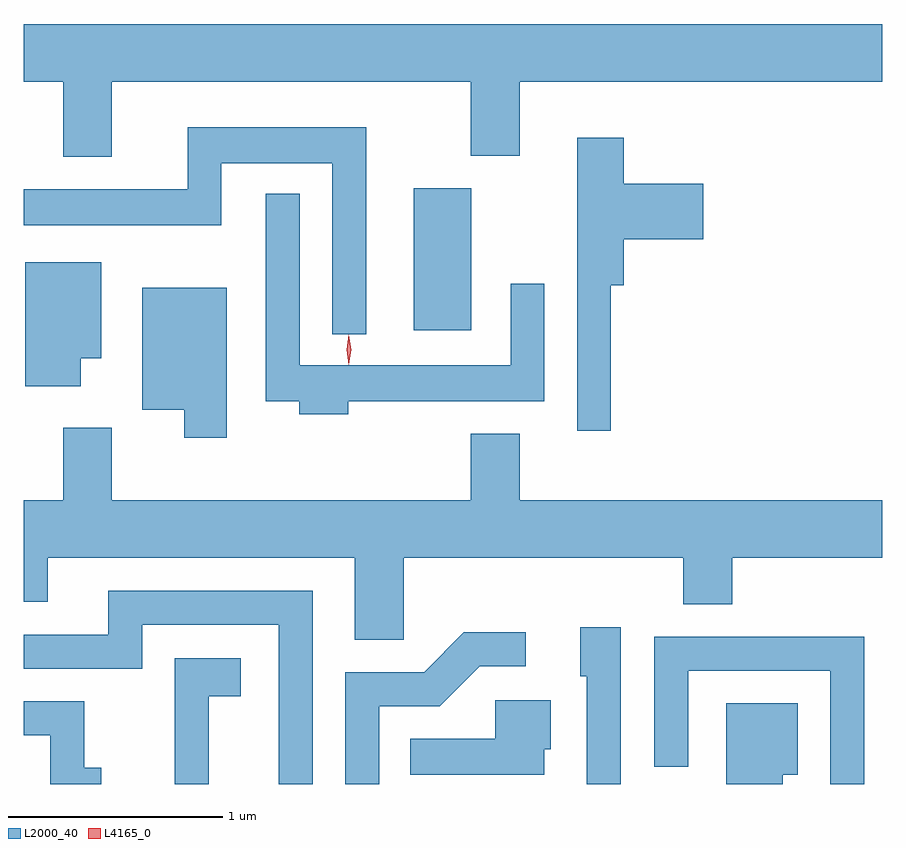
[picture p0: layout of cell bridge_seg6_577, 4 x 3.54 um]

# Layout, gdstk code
import gdstk
lib = gdstk.Library(unit=1e-6, precision=1e-09)
def R(c, l, rs):  # rectangles x0, y0, x1, y1
    for r in rs: c.add(gdstk.rectangle(r[:2], r[2:], *l))
def P(c, l, *ps):  # polygons
    for p in ps: c.add(gdstk.Polygon(p, *l))
L2000_40 = (2000, 40)
L4165_0 = (4165, 0)

bridge_seg6_577 = lib.new_cell('bridge_seg6_577')
R(bridge_seg6_577, L2000_40, [(489.796,1602.156,490.064,1602.819)])
P(bridge_seg6_577, L2000_40, [(488.389,1603.316),(490.061,1603.316),(490.061,1602.971),(490.289,1602.971),(490.289,1603.316),(491.978,1603.316),(491.978,1603.584),(487.978,1603.584),(487.978,1603.316),(488.161,1603.316),(488.161,1602.966),(488.389,1602.966)],
  [(489.574,1603.104),(488.741,1603.104),(488.741,1602.814),(487.978,1602.814),(487.978,1602.646),(488.899,1602.646),(488.899,1602.936),(489.416,1602.936),(489.416,1602.138),(489.574,1602.138)],
  [(490.714,1602.366),(490.774,1602.366),(490.774,1602.581),(491.144,1602.581),(491.144,1602.839),(490.774,1602.839),(490.774,1603.054),(490.556,1603.054),(490.556,1601.688),(490.714,1601.688)],
  [(489.489,1601.826),(490.404,1601.826),(490.404,1602.373),(490.246,1602.373),(490.246,1601.994),(489.264,1601.994),(489.264,1602.793),(489.106,1602.793),(489.106,1601.826),(489.261,1601.826),(489.261,1601.766),(489.489,1601.766)],
  [(488.244,1602.026),(488.339,1602.026),(488.339,1602.474),(487.986,1602.474),(487.986,1601.896),(488.244,1601.896)],
  [(488.924,1602.354),(488.531,1602.354),(488.531,1601.786),(488.726,1601.786),(488.726,1601.656),(488.924,1601.656)],
  [(489.749,1601.096),(491.051,1601.096),(491.051,1600.881),(491.279,1600.881),(491.279,1601.096),(491.978,1601.096),(491.978,1601.364),(490.289,1601.364),(490.289,1601.674),(490.061,1601.674),(490.061,1601.364),(488.389,1601.364),(488.389,1601.704),(488.161,1601.704),(488.161,1601.364),(487.978,1601.364),(487.978,1600.891),(488.089,1600.891),(488.089,1601.096),(489.521,1601.096),(489.521,1600.716),(489.749,1600.716)],
  [(489.324,1600.944),(488.371,1600.944),(488.371,1600.739),(487.978,1600.739),(487.978,1600.581),(488.529,1600.581),(488.529,1600.786),(489.166,1600.786),(489.166,1600.043),(489.324,1600.043)],
  [(490.759,1600.774),(490.571,1600.774),(490.571,1600.546),(490.601,1600.546),(490.601,1600.043),(490.759,1600.043)],
  [(489.634,1600.406),(489.917,1600.406),(490.102,1600.591),(490.318,1600.591),(490.318,1600.749),(490.029,1600.749),(489.844,1600.564),(489.476,1600.564),(489.476,1600.043),(489.634,1600.043)],
  [(491.894,1600.729),(490.916,1600.729),(490.916,1600.123),(491.074,1600.123),(491.074,1600.571),(491.736,1600.571),(491.736,1600.043),(491.894,1600.043)],
  [(488.839,1600.451),(488.989,1600.451),(488.989,1600.629),(488.681,1600.629),(488.681,1600.043),(488.839,1600.043)],
  [(490.404,1600.206),(490.434,1600.206),(490.434,1600.434),(490.176,1600.434),(490.176,1600.254),(489.778,1600.254),(489.778,1600.086),(490.404,1600.086)],
  [(488.338,1600.119),(488.259,1600.119),(488.259,1600.429),(487.978,1600.429),(487.978,1600.271),(488.101,1600.271),(488.101,1600.043),(488.338,1600.043)],
  [(491.514,1600.086),(491.584,1600.086),(491.584,1600.419),(491.251,1600.419),(491.251,1600.043),(491.514,1600.043)])
P(bridge_seg6_577, L4165_0, [(489.492,1602),(489.483,1602.066),(489.492,1602.133),(489.493,1602.133),(489.493,1602.133),(489.503,1602.066),(489.493,1602),(489.493,1602)],
  [(489.492,1601.997),(489.483,1602.067),(489.492,1602.136),(489.493,1602.136),(489.493,1602.136),(489.503,1602.067),(489.493,1601.997),(489.493,1601.997)])

lib.write_gds('bridge_seg6_577.gds')
